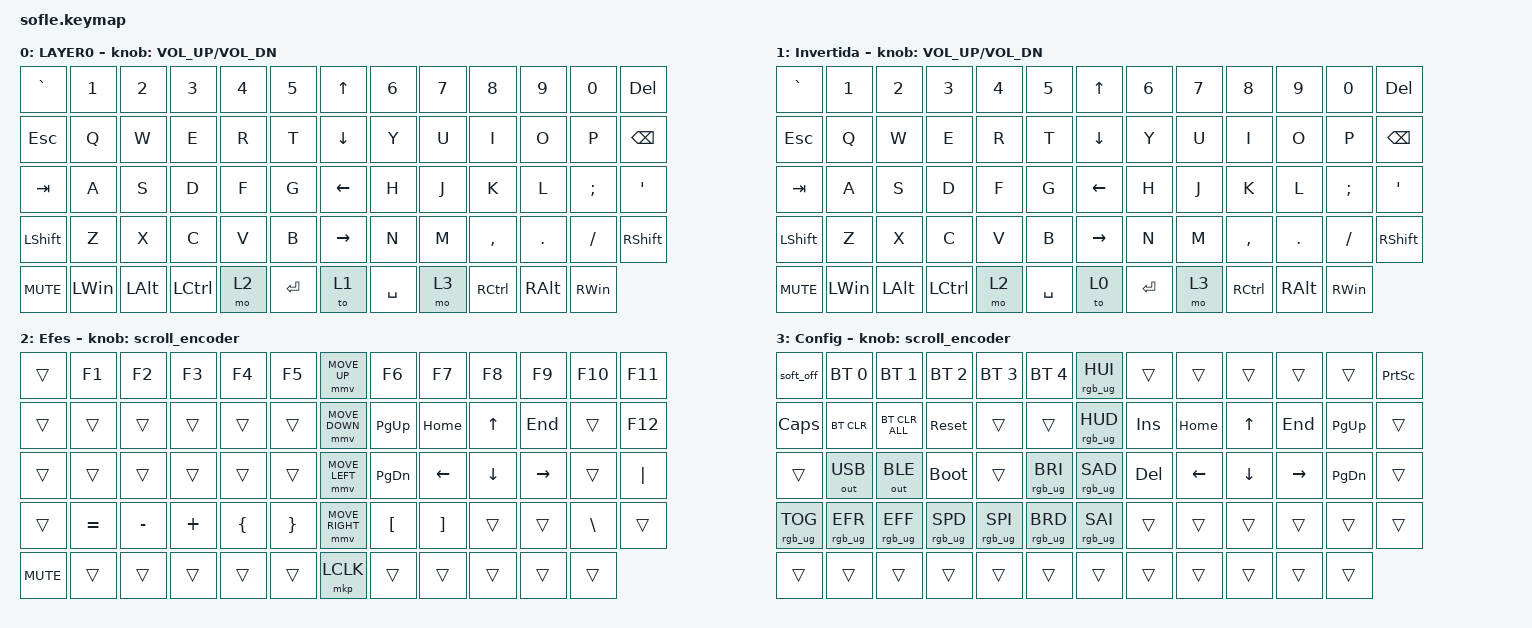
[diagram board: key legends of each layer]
#include <behaviors/mouse_keys.dtsi>
#include <behaviors.dtsi>
#include <dt-bindings/zmk/bt.h>
#include <dt-bindings/zmk/keys.h>
#include <dt-bindings/zmk/mouse.h>
#include <dt-bindings/zmk/outputs.h>
#include <dt-bindings/zmk/rgb.h>

#define ZMK_MOUSE_DEFAULT_MOVE_VAL 1200  // 600
#define ZMK_MOUSE_DEFAULT_SCRL_VAL 20    // 10
#define U_MS_U &mmv MOVE_UP
#define U_MS_D &mmv MOVE_DOWN
#define U_MS_L &mmv MOVE_LEFT
#define U_MS_R &mmv MOVE_RIGHT
#define ZMK_MOUSE_DEFAULT_MOVE_VAL 1200  //  600
#define ZMK_MOUSE_DEFAULT_SCRL_VAL 20    // 10

/ {
    behaviors {
        mmv {
            acceleration-exponent = <1>;      // 1
            time-to-max-speed-ms = <900>;    // 40
            delay-ms = <0>;                   // 0
        };

        msc {
            acceleration-exponent = <1>;      // 0
            time-to-max-speed-ms = <400>;      // 500
            delay-ms = <0>;                   //   10
        };
    };

    scroll_encoder: scroll_encoder {
        compatible = "zmk,behavior-sensor-rotate";
        #sensor-binding-cells = <0>;
        bindings = <&msc SCRL_DOWN>, <&msc SCRL_UP>;

        tap-ms = <30>;
    };

    keymap {
        compatible = "zmk,keymap";

        layer_0 {
            bindings = <
&kp GRAVE   &kp N1        &kp N2        &kp N3            &kp N4  &kp N5       &kp UP_ARROW     &kp N6     &kp N7  &kp N8             &kp N9         &kp N0         &kp DEL
&kp ESC     &kp Q         &kp W         &kp E             &kp R   &kp T        &kp DOWN_ARROW   &kp Y      &kp U   &kp I              &kp O          &kp P          &kp BACKSPACE
&kp TAB     &kp A         &kp S         &kp D             &kp F   &kp G        &kp LEFT_ARROW   &kp H      &kp J   &kp K              &kp L          &kp SEMI       &kp APOS
&kp LSHFT   &kp Z         &kp X         &kp C             &kp V   &kp B        &kp RIGHT_ARROW  &kp N      &kp M   &kp COMMA          &kp DOT        &kp FSLH       &kp RIGHT_SHIFT
&kp C_MUTE  &kp LEFT_WIN  &kp LEFT_ALT  &kp LEFT_CONTROL  &mo 2   &kp ENTER    &to 1            &kp SPACE  &mo 3   &kp RIGHT_CONTROL  &kp RIGHT_ALT  &kp RIGHT_WIN
            >;

            sensor-bindings = <&inc_dec_kp C_VOLUME_UP C_VOL_DN>;
            display-name = "LAYER0";
            label = "Base";
        };

        layer_1 {
            display-name = "Invertida";
            bindings = <
&kp GRAVE   &kp N1        &kp N2        &kp N3            &kp N4  &kp N5       &kp UP_ARROW     &kp N6     &kp N7  &kp N8             &kp N9         &kp N0         &kp DEL
&kp ESC     &kp Q         &kp W         &kp E             &kp R   &kp T        &kp DOWN_ARROW   &kp Y      &kp U   &kp I              &kp O          &kp P          &kp BACKSPACE
&kp TAB     &kp A         &kp S         &kp D             &kp F   &kp G        &kp LEFT_ARROW   &kp H      &kp J   &kp K              &kp L          &kp SEMI       &kp APOS
&kp LSHFT   &kp Z         &kp X         &kp C             &kp V   &kp B        &kp RIGHT_ARROW  &kp N      &kp M   &kp COMMA          &kp DOT        &kp FSLH       &kp RIGHT_SHIFT
&kp C_MUTE  &kp LEFT_WIN  &kp LEFT_ALT  &kp LEFT_CONTROL  &mo 2   &kp SPACE    &to 0            &kp ENTER  &mo 3   &kp RIGHT_CONTROL  &kp RIGHT_ALT  &kp RIGHT_WIN
            >;

            sensor-bindings = <&inc_dec_kp C_VOLUME_UP C_VOL_DN>;
        };

        layer_2 {
            bindings = <
&trans      &kp F1     &kp F2     &kp F3    &kp F4          &kp F5             &mmv MOVE_UP     &kp F6            &kp F7             &kp F8    &kp F9     &kp F10        &kp F11
&trans      &trans     &trans     &trans    &trans          &trans             &mmv MOVE_DOWN   &kp PG_UP         &kp HOME           &kp UP    &kp END    &trans         &kp F12
&trans      &trans     &trans     &trans    &trans          &trans             &mmv MOVE_LEFT   &kp PG_DN         &kp LEFT           &kp DOWN  &kp RIGHT  &trans         &kp PIPE
&trans      &kp EQUAL  &kp MINUS  &kp PLUS  &kp LEFT_BRACE  &kp RIGHT_BRACE    &mmv MOVE_RIGHT  &kp LEFT_BRACKET  &kp RIGHT_BRACKET  &trans    &trans     &kp BACKSLASH  &trans
&kp C_MUTE  &trans     &trans     &trans    &trans          &trans             &mkp LCLK        &trans            &trans             &trans    &trans     &trans
            >;

            display-name = "Efes";
            sensor-bindings = <&scroll_encoder>;
        };

        layer_3 {
            bindings = <
&soft_off        &bt BT_SEL 0     &bt BT_SEL 1     &bt BT_SEL 2     &bt BT_SEL 3     &bt BT_SEL 4       &rgb_ug RGB_HUI  &trans   &trans    &trans    &trans     &trans         &kp PRINTSCREEN
&kp CAPSLOCK     &bt BT_CLR       &bt BT_CLR_ALL   &sys_reset       &trans           &trans             &rgb_ug RGB_HUD  &kp INS  &kp HOME  &kp UP    &kp END    &kp PAGE_UP    &trans
&trans           &out OUT_USB     &out OUT_BLE     &bootloader      &trans           &rgb_ug RGB_BRI    &rgb_ug RGB_SAD  &kp DEL  &kp LEFT  &kp DOWN  &kp RIGHT  &kp PAGE_DOWN  &trans
&rgb_ug RGB_TOG  &rgb_ug RGB_EFR  &rgb_ug RGB_EFF  &rgb_ug RGB_SPD  &rgb_ug RGB_SPI  &rgb_ug RGB_BRD    &rgb_ug RGB_SAI  &trans   &trans    &trans    &trans     &trans         &trans
&trans           &trans           &trans           &trans           &trans           &trans             &trans           &trans   &trans    &trans    &trans     &trans
            >;

            sensor-bindings = <&scroll_encoder>;
            label = "Config";
        };
    };
};
